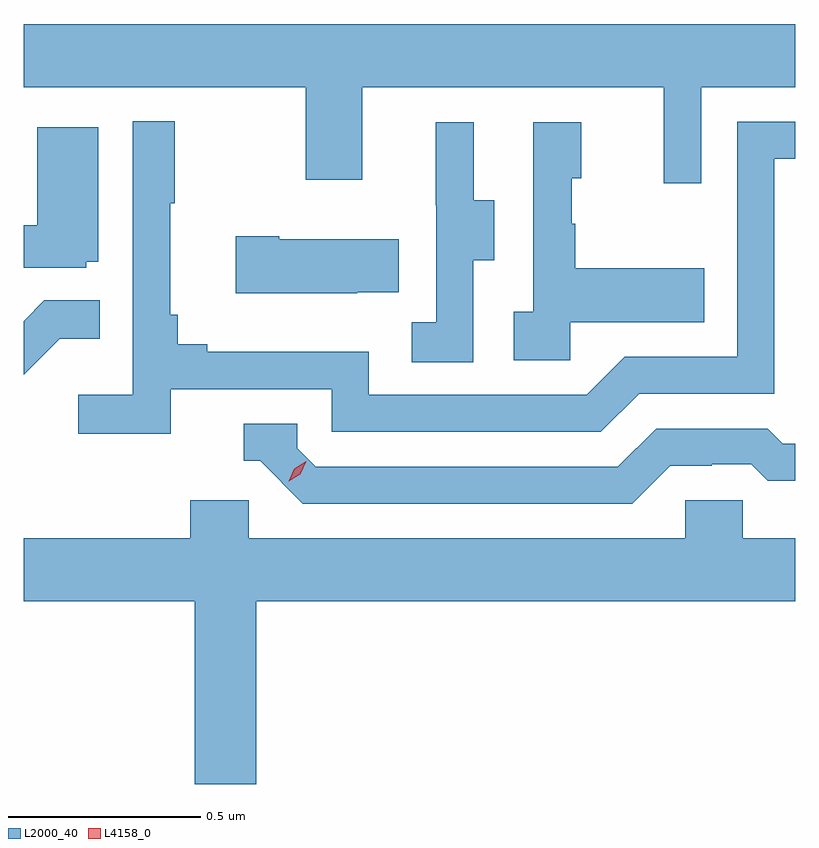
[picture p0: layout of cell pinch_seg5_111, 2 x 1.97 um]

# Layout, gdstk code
import gdstk
lib = gdstk.Library(unit=1e-6, precision=1e-09)
def P(c, l, *ps):  # polygons
    for p in ps: c.add(gdstk.Polygon(p, *l))
L2000_40 = (2000, 40)
L4158_0 = (4158, 0)

pinch_seg5_111 = lib.new_cell('pinch_seg5_111')
P(pinch_seg5_111, L2000_40, [(1042.863,883.4),(1043.107,883.4),(1043.107,883.564),(1041.107,883.564),(1041.107,883.4),(1041.838,883.4),(1041.838,883.161),(1041.985,883.161),(1041.985,883.4),(1042.766,883.4),(1042.766,883.152),(1042.863,883.152)],
  [(1041.488,882.618),(1041.906,882.618),(1041.906,882.507),(1042.603,882.507),(1042.702,882.606),(1043.052,882.606),(1043.052,883.215),(1043.107,883.215),(1043.107,883.311),(1042.956,883.311),(1042.956,882.702),(1042.665,882.702),(1042.566,882.603),(1042.002,882.603),(1042.002,882.715),(1041.583,882.715),(1041.583,882.734),(1041.506,882.734),(1041.506,882.811),(1041.487,882.811),(1041.487,883.099),(1041.499,883.099),(1041.499,883.312),(1041.39,883.312),(1041.39,882.604),(1041.249,882.604),(1041.249,882.502),(1041.488,882.502)],
  [(1042.272,882.952),(1042.327,882.952),(1042.327,883.107),(1042.273,883.107),(1042.273,883.309),(1042.175,883.309),(1042.175,883.095),(1042.176,883.095),(1042.176,882.791),(1042.113,882.791),(1042.113,882.688),(1042.272,882.688)],
  [(1042.524,882.791),(1042.871,882.791),(1042.871,882.931),(1042.537,882.931),(1042.537,883.046),(1042.527,883.046),(1042.527,883.164),(1042.552,883.164),(1042.552,883.309),(1042.428,883.309),(1042.428,882.818),(1042.377,882.818),(1042.377,882.693),(1042.524,882.693)],
  [(1041.27,882.948),(1041.301,882.948),(1041.301,883.297),(1041.143,883.297),(1041.143,883.042),(1041.107,883.042),(1041.107,882.933),(1041.27,882.933)],
  [(1041.971,882.869),(1042.079,882.869),(1042.079,883.006),(1041.769,883.006),(1041.769,883.014),(1041.657,883.014),(1041.657,882.866),(1041.971,882.866)],
  [(1041.201,882.749),(1041.305,882.749),(1041.305,882.848),(1041.161,882.848),(1041.107,882.794),(1041.107,882.655)],
  [(1042.783,882.42),(1042.89,882.42),(1042.89,882.423),(1042.993,882.423),(1043.035,882.381),(1043.107,882.381),(1043.107,882.477),(1043.074,882.477),(1043.035,882.516),(1042.746,882.516),(1042.647,882.417),(1041.864,882.417),(1041.816,882.465),(1041.816,882.528),(1041.677,882.528),(1041.677,882.432),(1041.72,882.432),(1041.831,882.321),(1042.684,882.321)],
  [(1041.71,882.068),(1043.107,882.068),(1043.107,882.232),(1042.971,882.232),(1042.971,882.33),(1042.821,882.33),(1042.821,882.232),(1041.69,882.232),(1041.69,882.33),(1041.539,882.33),(1041.539,882.232),(1041.107,882.232),(1041.107,882.068),(1041.55,882.068),(1041.55,881.595),(1041.71,881.595)])
P(pinch_seg5_111, L4158_0, [(1041.794,882.379),(1041.794,882.379),(1041.809,882.412),(1041.839,882.431),(1041.839,882.431),(1041.839,882.431),(1041.824,882.398),(1041.794,882.379)])

lib.write_gds('pinch_seg5_111.gds')
